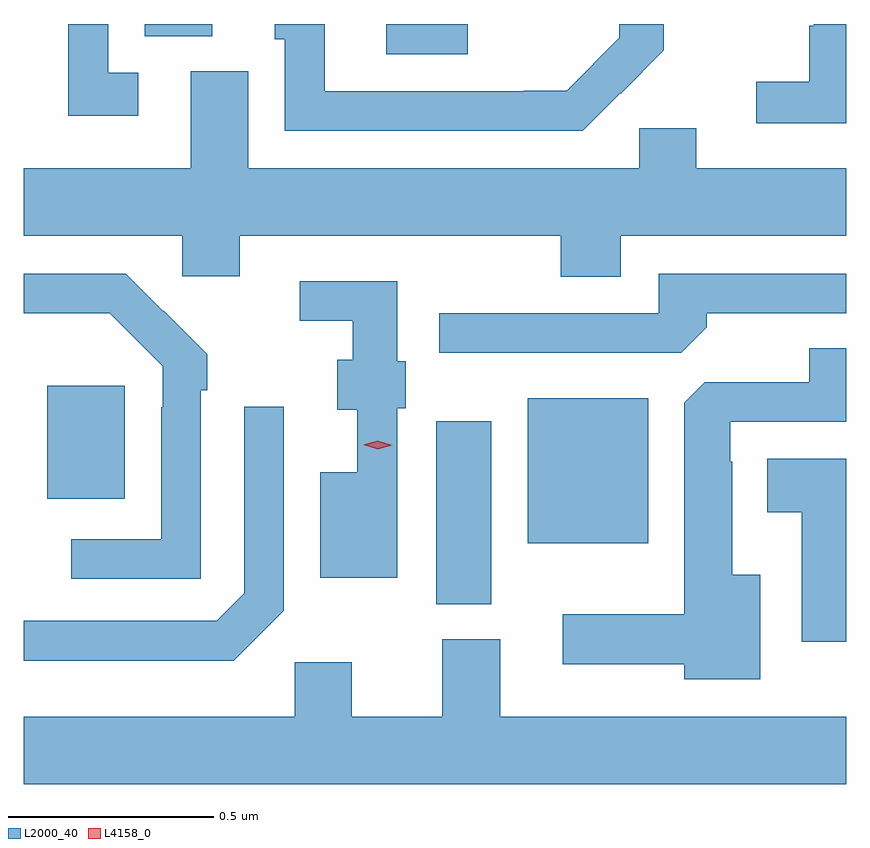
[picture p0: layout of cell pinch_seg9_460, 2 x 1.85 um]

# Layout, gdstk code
import gdstk
lib = gdstk.Library(unit=1e-6, precision=1e-09)
def R(c, l, rs):  # rectangles x0, y0, x1, y1
    for r in rs: c.add(gdstk.rectangle(r[:2], r[2:], *l))
def P(c, l, *ps):  # polygons
    for p in ps: c.add(gdstk.Polygon(p, *l))
L2000_40 = (2000, 40)
L4158_0 = (4158, 0)

pinch_seg9_460 = lib.new_cell('pinch_seg9_460')
R(pinch_seg9_460, L2000_40, [(244.616,1207.513,244.75,1207.957), (244.838,1207.661,245.131,1208.014), (243.671,1207.769,243.859,1208.044), (244.494,1208.85,244.692,1208.923), (243.908,1208.893,244.072,1208.923)])
P(pinch_seg9_460, L2000_40, [(245.613,1208.923),(245.534,1208.923),(245.534,1208.919),(245.523,1208.919),(245.523,1208.783),(245.394,1208.783),(245.394,1208.682),(245.613,1208.682)],
  [(243.892,1208.805),(243.819,1208.805),(243.819,1208.923),(243.722,1208.923),(243.722,1208.7),(243.892,1208.7)],
  [(245.063,1208.755),(245.064,1208.754),(245.169,1208.859),(245.169,1208.923),(245.061,1208.923),(245.061,1208.889),(244.933,1208.761),(244.829,1208.761),(244.829,1208.76),(244.345,1208.76),(244.345,1208.923),(244.223,1208.923),(244.223,1208.886),(244.248,1208.886),(244.248,1208.664),(244.972,1208.664)],
  [(245.065,1208.408),(245.613,1208.408),(245.613,1208.572),(245.248,1208.572),(245.248,1208.67),(245.109,1208.67),(245.109,1208.572),(244.159,1208.572),(244.159,1208.808),(244.019,1208.808),(244.019,1208.572),(243.613,1208.572),(243.613,1208.408),(243.999,1208.408),(243.999,1208.31),(244.138,1208.31),(244.138,1208.408),(244.918,1208.408),(244.918,1208.309),(245.065,1208.309)],
  [(245.273,1208.186),(245.273,1208.22),(245.613,1208.22),(245.613,1208.316),(245.157,1208.316),(245.157,1208.22),(244.623,1208.22),(244.623,1208.124),(245.211,1208.124)],
  [(244.044,1208.033),(244.059,1208.033),(244.059,1208.121),(243.954,1208.226),(243.953,1208.225),(243.862,1208.316),(243.613,1208.316),(243.613,1208.22),(243.823,1208.22),(243.951,1208.091),(243.951,1207.991),(243.948,1207.991),(243.948,1207.671),(243.729,1207.671),(243.729,1207.575),(244.044,1207.575)],
  [(244.521,1207.989),(244.542,1207.989),(244.542,1208.103),(244.521,1208.103),(244.521,1208.298),(244.284,1208.298),(244.284,1208.202),(244.413,1208.202),(244.413,1208.107),(244.376,1208.107),(244.376,1207.985),(244.424,1207.985),(244.424,1207.834),(244.334,1207.834),(244.334,1207.577),(244.521,1207.577)],
  [(245.404,1207.585),(245.335,1207.585),(245.335,1207.859),(245.331,1207.859),(245.331,1207.956),(245.613,1207.956),(245.613,1208.135),(245.522,1208.135),(245.522,1208.052),(245.268,1208.052),(245.219,1208.003),(245.219,1207.489),(244.923,1207.489),(244.923,1207.367),(245.219,1207.367),(245.219,1207.331),(245.404,1207.331)],
  [(244.245,1207.497),(244.245,1207.993),(244.149,1207.993),(244.149,1207.539),(244.083,1207.473),(243.613,1207.473),(243.613,1207.376),(244.124,1207.376)],
  [(245.613,1207.867),(245.42,1207.867),(245.42,1207.736),(245.504,1207.736),(245.504,1207.422),(245.613,1207.422)],
  [(245.613,1207.24),(244.771,1207.24),(244.771,1207.428),(244.631,1207.428),(244.631,1207.24),(244.411,1207.24),(244.411,1207.372),(244.272,1207.372),(244.272,1207.24),(243.613,1207.24),(243.613,1207.076),(245.613,1207.076)])
P(pinch_seg9_460, L4158_0, [(244.474,1207.89),(244.439,1207.9),(244.439,1207.9),(244.439,1207.9),(244.474,1207.91),(244.509,1207.899),(244.509,1207.899),(244.509,1207.899)])

lib.write_gds('pinch_seg9_460.gds')
